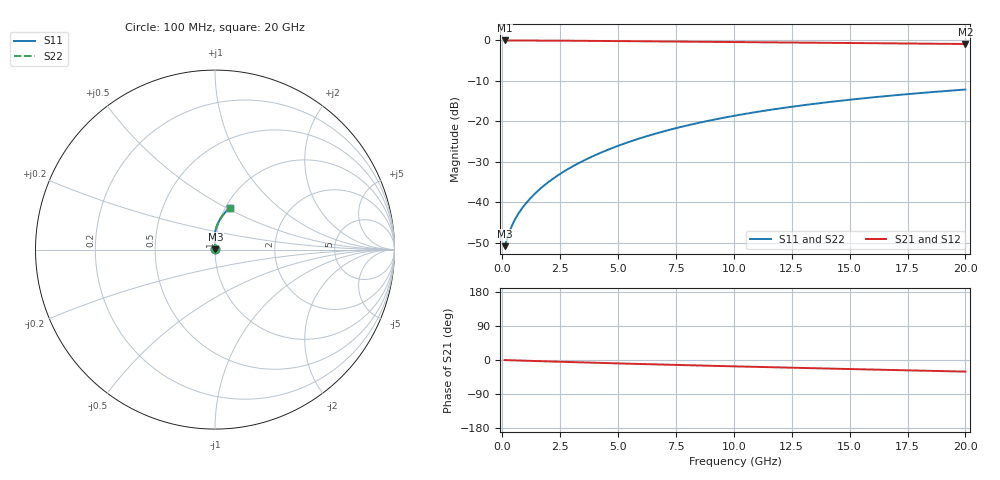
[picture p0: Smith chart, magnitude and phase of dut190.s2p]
! Touchstone file exported from HFSS 2024.1.0
!  File:  C:/UserFiles/LocalFiles/RDL_TSV_Batchsim/temp_RDL_bottom_190_1778699093.aedt
!  Generated:  03:07:32 AM May 14, 2026
!  Design:  RDL_bottom
!  Project:  temp_RDL_bottom_190_1778699093
!  Setup:  Setup1
!  Solution:  Sweep
! Variables:
!  dtsv = 10.80580581um
!  hbump = 3um
!  htsv = 66.24um
!  ldown = 448.16um
!  lrdl = 100um
!  p = 40
!  p1 = 49.13um
!  rhole = 1um
!  t = 450um
!  tdown = 2.35um
!  trdl = 3.915915916um
!  wdown = 29.74um
!  wrdl = 20um
# GHz S MA R 50.000000
! Terminal data exported
! Port[1] = RDL1_T1
! Port[2] = RDL1_T2
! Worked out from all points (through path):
!   200 points, 100 MHz to 20 GHz, reference 50 ohm
!   highest |S21| = -0.02 dB at 100 MHz (marker M1); lowest = -0.9 dB at 20 GHz (marker M2)
!   group delay of S21, straight-line fit = 4.19 ps
!   lowest |S11| = -50.8 dB at 100 MHz (marker M3), VSWR 1.01, Z = 50.3 + j0.108 ohm
!   |S11| at or under -10 dB: start of sweep to end of sweep
!   |S22| runs from -50.8 to -12.2 dB; largest |S21 - S12| = 3e-15
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0.1  0.002873 22.0  0.9973 -0.2  0.9973 -0.2  0.002873 22.0
! Gamma 0 0 0 0
! Port Impedance 50 0 50 0
0.3  0.004231 46.6  0.997 -0.6  0.997 -0.6  0.004231 46.6
0.4  0.005004 52.7  0.9968 -0.8  0.9968 -0.8  0.005004 52.7
0.5  0.005769 57.1  0.9965 -1.0  0.9965 -1.0  0.005769 57.1
0.6  0.006523 60.6  0.9963 -1.2  0.9963 -1.2  0.006523 60.6
0.8  0.008021 66.0  0.9959 -1.5  0.9959 -1.5  0.008022 66.0
1  0.009542 70.3  0.9956 -1.9  0.9956 -1.9  0.009543 70.3
1.2  0.0111 73.8  0.9951 -2.3  0.9951 -2.3  0.01111 73.8
1.7  0.01523 80.1  0.9939 -3.2  0.9939 -3.2  0.01523 80.0
2.2  0.01966 84.3  0.9924 -4.1  0.9924 -4.1  0.01966 84.2
2.8  0.02538 87.7  0.9903 -5.2  0.9903 -5.2  0.02538 87.6
3.5  0.0326 90.2  0.9873 -6.4  0.9873 -6.4  0.0326 90.1
4.2  0.04037 91.6  0.984 -7.6  0.984 -7.6  0.04037 91.6
5  0.04986 92.4  0.9799 -9.0  0.9799 -9.0  0.04984 92.3
5.9  0.06116 92.4  0.975 -10.5  0.975 -10.5  0.06113 92.4
6.8  0.07296 91.9  0.97 -11.9  0.97 -11.9  0.07293 91.8
8.4  0.09472 90.0  0.9611 -14.4  0.9611 -14.4  0.09468 89.9
10.1  0.1183 87.3  0.9518 -16.9  0.9518 -16.9  0.1182 87.3
11.7  0.1404 84.5  0.9434 -19.2  0.9434 -19.2  0.1403 84.5
13.4  0.1636 81.5  0.9347 -21.6  0.9347 -21.6  0.1635 81.5
16.7  0.2067 75.7  0.9182 -26.2  0.9182 -26.2  0.2066 75.7
20  0.247 70.3  0.9021 -30.7  0.9021 -30.7  0.2468 70.2
